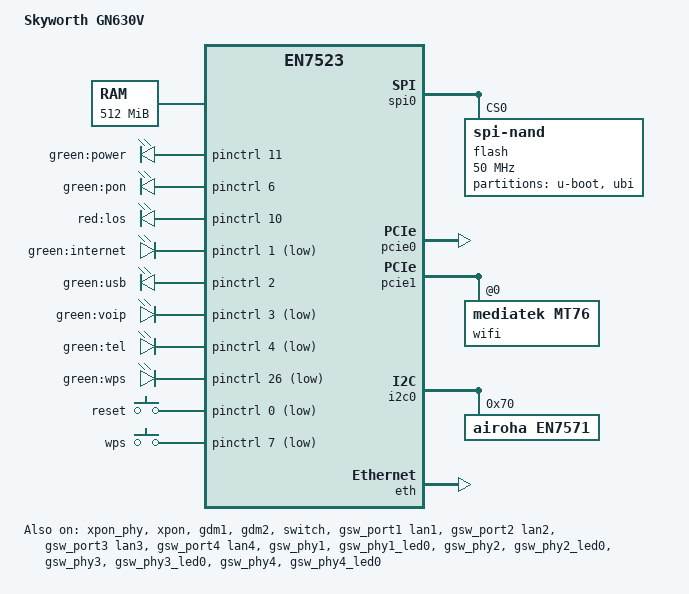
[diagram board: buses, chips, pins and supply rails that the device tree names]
// SPDX-License-Identifier: GPL-2.0-only OR BSD-2-Clause
/dts-v1/;

/*
 * Skyworth GN630V: GPON ONT, AX3000, 4x GbE.
 * Airoha AN7529CT (EN7523 family, 2x Cortex-A53 in AArch32), 512 MB DDR,
 * 256 MiB FORESEE F35SQB002G SPI-NAND, MT7916 Wi-Fi on PCIe, EN7571 GPON
 * optics. Facts from the stock UART boot log (stock kernel 4.4.115, U-Boot
 * 2014.04 Skyworth build) and the stock flash.
 */
/memreserve/ 0x80000000 0x200000;

#include <dt-bindings/gpio/gpio.h>
#include <dt-bindings/input/input.h>
#include "en7523.dtsi"

/ {
	model = "Skyworth GN630V";
	compatible = "skyworth,gn630v", "airoha,en7523";

	aliases {
		serial0 = &uart1;
		led-boot = &led_power;
		led-failsafe = &led_power;
		led-upgrade = &led_power;
		led-running = &led_power;
	};

	chosen {
		bootargs = "console=ttyS0,115200 earlycon";
		/* root= comes from the vendor U-Boot: /dev/mtdblock3 when it boots
		 * bank A, /dev/mtdblock6 for bank B (see the partition order) */
		bootargs-append = " rootfstype=squashfs";
		stdout-path = "serial0:115200n8";
		linux,usable-memory-range = <0x80200000 0x1fe00000>;
	};

	memory@80000000 {
		device_type = "memory";
		reg = <0x80000000 0x20000000>;
	};

	/*
	 * LEDs as found by blinking each pin on the board; the
	 * stock U-Boot env (dsl_gpio=0a) and vendor LED table do not match this
	 * board's wiring, and neither does env gpio_active_high: the polarities
	 * below were confirmed on the panel too. LAN LEDs (GPIO22-25) are the MT7530 PHYs' LED0
	 * outputs. GPIO5 is not a panel LED (it disturbed LAN4's LED). The Wi-Fi
	 * LED is not on a SoC GPIO: it is the MT7916's own LED (see &wifi).
	 */
	leds {
		compatible = "gpio-leds";

		led_power: led-power {
			label = "green:power";
			/* active-high: checked on 0.2.4, brightness 1 left it dark */
			gpios = <&pinctrl 11 GPIO_ACTIVE_HIGH>;
			default-state = "on";
		};

		led-pon {
			label = "green:pon";
			gpios = <&pinctrl 6 GPIO_ACTIVE_HIGH>;
		};

		led-los {
			label = "red:los";
			gpios = <&pinctrl 10 GPIO_ACTIVE_HIGH>;
		};

		led-internet {
			label = "green:internet";
			gpios = <&pinctrl 1 GPIO_ACTIVE_LOW>;
		};

		led-usb {
			label = "green:usb";
			gpios = <&pinctrl 2 GPIO_ACTIVE_HIGH>;
		};

		led-voip {
			label = "green:voip";
			gpios = <&pinctrl 3 GPIO_ACTIVE_LOW>;
		};

		led-tel {
			label = "green:tel";
			gpios = <&pinctrl 4 GPIO_ACTIVE_LOW>;
		};

		led-wps {
			label = "green:wps";
			gpios = <&pinctrl 26 GPIO_ACTIVE_LOW>;
		};
	};

	/* found by watching the pins while pressing each button */
	keys {
		compatible = "gpio-keys";

		key-reset {
			label = "reset";
			gpios = <&pinctrl 0 GPIO_ACTIVE_LOW>;
			linux,code = <KEY_RESTART>;
		};

		key-wps {
			label = "wps";
			gpios = <&pinctrl 7 GPIO_ACTIVE_LOW>;
			linux,code = <KEY_WPS_BUTTON>;
		};
	};
};

/*
Stock mapping:

0x00000000-0x00080000 : "bootloader"
0x00080000-0x000c0000 : "romfile"
0x000c0000-0x003425ab : "kernel"
0x003426a4-0x013626a4 : "rootfs"
0x000c0000-0x020c0000 : "tclinux"
0x020c0000-0x023425ab : "kernel_slave"
0x023426a4-0x033626a4 : "rootfs_slave"
0x020c0000-0x040c0000 : "tclinux_slave"
0x040c0000-0x048c0000 : "config"
0x048c0000-0x068c0000 : "ubifs"
0x0ddc0000-0x0e000000 : "reservearea"
*/
&spi0 {
	flash@0 {
		compatible = "spi-nand";
		reg = <0>;
		spi-max-frequency = <50000000>;

		partitions {
			compatible = "fixed-partitions";
			#address-cells = <1>;
			#size-cells = <1>;

			partition@0 {
				label = "u-boot";
				reg = <0x000000 0x100000>;
				read-only;
			};

			partition@100000 {
				label = "ubi";
				compatible = "linux,ubi";
				reg = <0x100000 0x000000>;

				volumes {
					ubi-volume-ubootenv {
						volname = "ubootenv";
						nvmem-layout {
							compatible = "u-boot,env-redundant-bool";
							env-size = <0x4000>;
						};
					};

					ubi-volume-ubootenv2 {
						volname = "ubootenv2";
						nvmem-layout {
							compatible = "u-boot,env-redundant-bool";
							env-size = <0x4000>;

							macaddr: ethaddr {
								#nvmem-cell-cells = <1>;
							};
						};
					};

					ubi-volume-art {
						volname = "art";
						read-only;

						nvmem-layout {
							compatible = "fixed-layout";
							#address-cells = <1>;
							#size-cells = <1>;

							/* MT7916 calibration, as stock ("5G" at 0x4c000) */
							mt7916_eeprom_factory: eeprom@4c000 {
								reg = <0x4c000 0x1000>;
							};
		
							/* EN7571 laser calibration (BOB): magic 0x07050701
							 * at +0x94 */
							en7571_bob: bob@140477 {
								reg = <0x140477 0x200>;
							};
						};
					};

					firmware: ubi-volume-firmware {
						volname = "fit";
						compatible = "denx,uimage";
					};
				};
			};
		};
	};
};

/*
 * The EN7523 pinctrl rejects the dtsi's open-drain setting on the PCIe reset
 * pins ("pin_config_set op failed for pin 41"), which stops both PCIe
 * controllers from probing. The reset works without it, as on the stock
 * kernel.
 */
&pcie0 {
	status = "okay";

	/delete-property/ pinctrl-names;
	/delete-property/ pinctrl-0;
};

&pcie1 {
	status = "okay";

	/delete-property/ pinctrl-names;
	/delete-property/ pinctrl-0;

	pcie@1,0 {
		reg = <0x0800 0 0 0 0>;
		#address-cells = <3>;
		#size-cells = <2>;

		wifi: wifi@0,0 {
			compatible = "mediatek,mt76";
			reg = <0x0000 0 0 0 0>;

			nvmem-cells = <&mt7916_eeprom_factory>, <&macaddr_uboot 4>;
			nvmem-cell-names = "eeprom", "mac-address";

			/* Wi-Fi offload through WED and the NPU. */
			airoha,npu = <&npu>;
			airoha,eth = <&eth>;

			/* MT7916 LED controller: with DBDC, mt76 muxes GPIO14 to the
			 * 2.4 GHz LED and GPIO15 to the 5 GHz one whatever the pin
			 * number (non-zero only matters without DBDC); the polarity
			 * applies to both. */
			led {
				led-sources = <2>;
				led-active-low;
			};
		};
	};
};

&i2c0 {
	status = "okay";

	en7571: lddla@70 {
		compatible = "airoha,en7571";
		reg = <0x70>;

		nvmem-cells = <&en7571_bob>;
		nvmem-cell-names = "calibration";

		#optical-frontend-cells = <0>;
	};
};

&xpon_phy {
	status = "okay";
};

/* GPON identity is not set here: it is the ISP's, and goes in the OMCI
 * agent configuration (quick setup). */
&xpon {
	status = "okay";
	omci-vendor-id = "SKYW";

	optical-frontends = <&en7571>;
	optical-frontend-names = "pon";
};

&eth {
	status = "okay";
};

&gdm1 {
	status = "okay";

	nvmem-cells = <&macaddr_uboot 0>;
	nvmem-cell-names = "mac-address";
};

&gdm2 {
	status = "okay";
	phy-mode = "internal";

	nvmem-cells = <&macaddr_uboot 1>;
	nvmem-cell-names = "mac-address";

	/delete-property/ pcs-handle;

	airoha,xpon-managed;
	openwrt,netdev-name = "pon0";
};

&switch {
	status = "okay";
};

&gsw_port1 {
	label = "lan1";
	status = "okay";
};

&gsw_port2 {
	label = "lan2";
	status = "okay";
};

&gsw_port3 {
	label = "lan3";
	status = "okay";
};

&gsw_port4 {
	label = "lan4";
	status = "okay";
};

&gsw_phy1 {
	/* one LAN LED per port: LED0 only, GPIO4-7 stay free */
	pinctrl-0 = <&swp1_led0>;
	status = "okay";
};

&gsw_phy1_led0 {
	color = <LED_COLOR_ID_GREEN>;
	status = "okay";
};

&gsw_phy2 {
	/* one LAN LED per port: LED0 only, GPIO4-7 stay free */
	pinctrl-0 = <&swp2_led0>;
	status = "okay";
};

&gsw_phy2_led0 {
	color = <LED_COLOR_ID_GREEN>;
	status = "okay";
};

&gsw_phy3 {
	/* one LAN LED per port: LED0 only, GPIO4-7 stay free */
	pinctrl-0 = <&swp3_led0>;
	status = "okay";
};

&gsw_phy3_led0 {
	color = <LED_COLOR_ID_GREEN>;
	status = "okay";
};

&gsw_phy4 {
	/* one LAN LED per port: LED0 only, GPIO4-7 stay free */
	pinctrl-0 = <&swp4_led0>;
	status = "okay";
};

&gsw_phy4_led0 {
	color = <LED_COLOR_ID_GREEN>;
	status = "okay";
};

/*
 * Note: the NPU firmware copies RX frames to the host with GDMA channel 0
 * and never unmasks it. The Linux GDMA driver masks every channel at probe,
 * which hangs the NPU on its first frame, and nothing here uses the GDMA.
 */
&gdma {
	status = "disabled";
};
